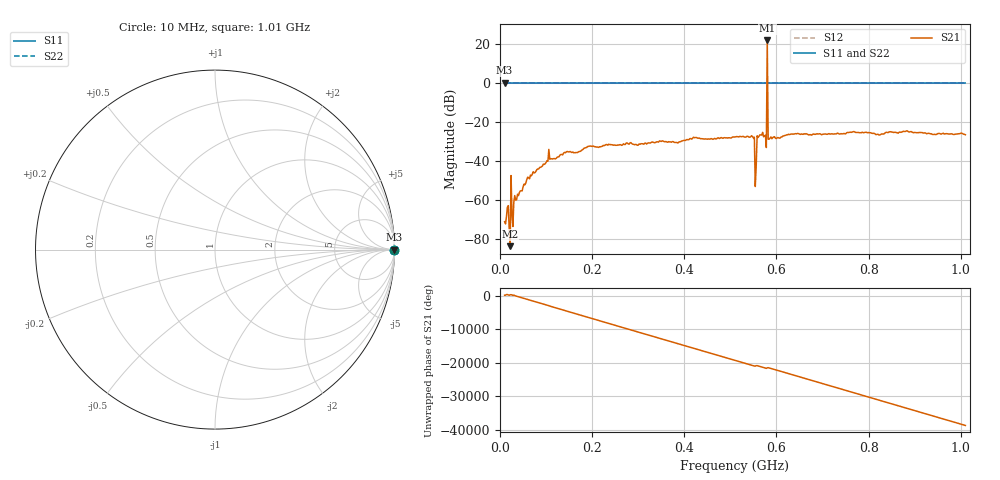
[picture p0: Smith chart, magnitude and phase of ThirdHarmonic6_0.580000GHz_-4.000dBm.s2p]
! 8/15/2025 6:42:59 PM
! C:\ANRITSUVNA\TEMP\TEMP.S2P
! CHANNEL.1
! TR.MEASUREMENT
! RAW.DATA
! RF.CORRECTION.OFF
! AVERAGING.OFF
! IF.BANDWIDTH: 5KHZ
! SWEEPTYPE:  FREQ.SWEEP(Linear)
! Reference Plane Port Info
! PORT:  PORT1  PORT2
! DISTANCE:  0  m  0  m
! TIME:  0  s  0  s
! PHASE.OFFSET:  0  deg.  0  deg.
! LOSS:  0  dB  0  dB
! REF.LOSS:  0  dB  0  dB
! REF.FREQ:  0  Hz  0  Hz
! Power Info
! POWER:  -20  dBm  -20  dBm
! EFF.POWER:  -20  dBm  -20  dBm
! SOURCE.ATTEN:  0  dB  0  dB
! TEST.ATTEN:  0  dB  0  dB
# GHZ S RI R 50.0
! FREQ.GHZ  S11RE  S11IM  S21RE  S21IM  S12RE  S12IM  S22RE  S22IM
!; PortSelection: Port_12
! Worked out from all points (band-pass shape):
!   501 points, 10 MHz to 1.01 GHz, reference 50 ohm
!   highest |S21| = 21.61 dB at 580 MHz (marker M1); lowest = -83.6 dB at 22 MHz (marker M2)
!   |S21| within 3 dB of the highest: 579.8905 MHz to 580.1187 MHz (228.2 kHz wide, 0.0394 % of centre)
!   lowest |S11| = 0.0 dB at 10 MHz (marker M3)
!   |S11| at or under -10 dB: nowhere
!   |S22| runs from 0.0 to 0.0 dB; largest |S21 - S12| = 12
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0.01  1 0  -0.000207 0.000185  1 0  1 0
0.022  1 0  7.7e-06 -6.53e-05  1 0  1 0
0.024  1 0  0.00157 -0.00391  1 0  1 0
0.028  1 0  6.39e-05 0.000199  1 0  1 0
0.03  1 0  -0.000803 0.000374  1 0  1 0
0.062  1 0  -0.00304 -0.00221  1 0  1 0
0.104  1 0  0.00579 -0.00799  1 0  1 0
0.178  1 0  -0.0187 -0.00324  1 0  1 0
0.344  1 0  0.0285 -0.00976  1 0  1 0
0.51  1 0  -0.0356 0.0201  1 0  1 0
0.548  1 0  0.0237 0.0346  1 0  1 0
0.552  1 0  -0.0045 -0.04  1 0  1 0
0.558  1 0  0.0426 0.0108  1 0  1 0
0.562  1 0  -0.0315 -0.0291  1 0  1 0
0.574  1 0  -0.00185 0.0436  1 0  1 0
0.576  1 0  0.0441 0.0103  1 0  1 0
0.58  1 0  3.945 11.37  1 0  1 0
0.584  1 0  0.025 0.0257  1 0  1 0
0.586  1 0  0.0339 -0.0173  1 0  1 0
0.678  1 0  -0.0302 -0.0365  1 0  1 0
0.844  1 0  0.048 0.0268  1 0  1 0
1.01  1 0  -0.0466 0.00251  1 0  1 0
